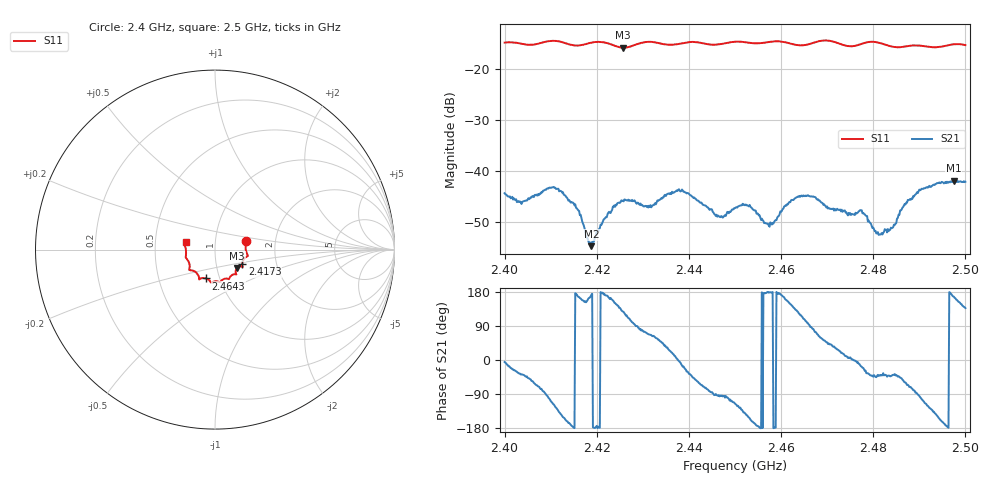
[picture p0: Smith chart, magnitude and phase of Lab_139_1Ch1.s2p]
# Hz S RI R 50
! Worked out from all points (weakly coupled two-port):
!   601 points, 2.4 GHz to 2.5 GHz, reference 50 ohm
!   highest |S21| = -41.92 dB at 2.4975 GHz (marker M1); lowest = -54.7 dB at 2.4188 GHz (marker M2)
!   lowest |S11| = -15.9 dB at 2.4257 GHz (marker M3), VSWR 1.38, Z = 62.5 - j13.1 ohm
!   |S11| at or under -10 dB: start of sweep to end of sweep
!   S12 and S22 are empty: the file has one direction only
!   S11 on the Smith chart (normalised r, x): 2.4 GHz: 1.41, +0.14; 2.4173 GHz: 1.34, -0.22; 2.4643 GHz: 0.86, -0.29; 2.5 GHz: 0.72, +0.06
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2.4e9  0.1726 0.0488  0.00601 -0.000561  0 0  0 0
2.403667e9  0.1727 0.0285  0.00374 -0.00291  0 0  0 0
2.411167e9  0.1828 -0.0357  -0.00389 -0.00538  0 0  0 0
2.416667e9  0.1527 -0.0738  -0.00326 0.0012  0 0  0 0
2.417333e9  0.1521 -0.0812  -0.00245 0.00123  0 0  0 0
2.418833e9  0.1528 -0.0937  -0.00181 0.000255  0 0  0 0
2.422167e9  0.1506 -0.0949  -0.00346 0.000615  0 0  0 0
2.425667e9  0.123 -0.1021  -0.00314 0.00404  0 0  0 0
2.433333e9  0.1129 -0.1371  0.00303 0.00408  0 0  0 0
2.438167e9  0.082 -0.155  0.00623 -0.000791  0 0  0 0
2.446333e9  0.0452 -0.1661  -0.000294 -0.00364  0 0  0 0
2.45e9  0.0288 -0.1808  -0.00183 -0.00391  0 0  0 0
2.452833e9  0.0181 -0.1783  -0.00393 -0.00231  0 0  0 0
2.457833e9  -0.0183 -0.1822  -0.00304 9.06e-05  0 0  0 0
2.464333e9  -0.0499 -0.161  -0.00267 0.00506  0 0  0 0
2.466667e9  -0.0759 -0.1595  0.000484 0.0056  0 0  0 0
2.4775e9  -0.1312 -0.1157  0.00391 -0.00126  0 0  0 0
2.481167e9  -0.143 -0.1081  0.00175 -0.00159  0 0  0 0
2.483333e9  -0.141 -0.09  0.00193 -0.00169  0 0  0 0
2.49e9  -0.163 -0.0404  -0.000592 -0.00652  0 0  0 0
2.4975e9  -0.1704 0.0296  -0.00781 0.00179  0 0  0 0
2.5e9  -0.164 0.0433  -0.00571 0.00534  0 0  0 0
